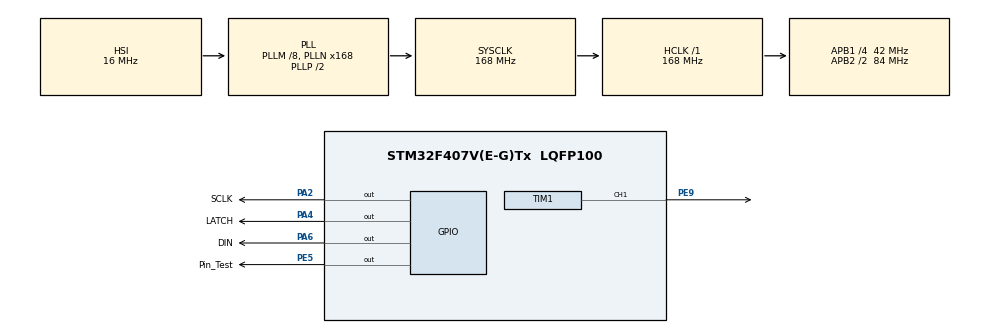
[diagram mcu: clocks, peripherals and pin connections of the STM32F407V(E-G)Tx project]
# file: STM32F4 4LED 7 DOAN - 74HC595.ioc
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ADC1.Channel-0\#ChannelRegularConversion=ADC_CHANNEL_TEMPSENSOR
ADC1.NbrOfConversionFlag=1
ADC1.Rank-0\#ChannelRegularConversion=1
ADC1.SamplingTime-0\#ChannelRegularConversion=ADC_SAMPLETIME_3CYCLES
ADC1.master=1
Mcu.Family=STM32F4
Mcu.Name=STM32F407V(E-G)Tx
Mcu.Package=LQFP100
NVIC.PriorityGroup=NVIC_PRIORITYGROUP_4
NVIC.TIM2_IRQn=true\:0\:0\:false\:false\:true\:true\:true\:true
PA13.Mode=Trace_Asynchronous_SW
PA13.Signal=SYS_JTMS-SWDIO
PA14.Mode=Trace_Asynchronous_SW
PA14.Signal=SYS_JTCK-SWCLK
PA2.GPIO_Label=SCLK
PA2.Signal=GPIO_Output
PA4.GPIO_Label=LATCH
PA4.Signal=GPIO_Output
PA6.GPIO_Label=DIN
PA6.Signal=GPIO_Output
PB3.Mode=Trace_Asynchronous_SW
PB3.Signal=SYS_JTDO-SWO
PE5.GPIO_Label=Pin_Test
PE5.Signal=GPIO_Output
PE9.Signal=S_TIM1_CH1
PH0-OSC_IN.Mode=HSE-External-Oscillator
PH0-OSC_IN.Signal=RCC_OSC_IN
PH1-OSC_OUT.Mode=HSE-External-Oscillator
PH1-OSC_OUT.Signal=RCC_OSC_OUT
ProjectManager.HeapSize=0x200
ProjectManager.StackSize=0x400
ProjectManager.TargetToolchain=MDK-ARM V5
RCC.48MHZClocksFreq_Value=84000000
RCC.AHBFreq_Value=168000000
RCC.APB1CLKDivider=RCC_HCLK_DIV4
RCC.APB1Freq_Value=42000000
RCC.APB1TimFreq_Value=84000000
RCC.APB2CLKDivider=RCC_HCLK_DIV2
RCC.APB2Freq_Value=84000000
RCC.APB2TimFreq_Value=168000000
RCC.CortexFreq_Value=168000000
RCC.HCLKFreq_Value=168000000
RCC.HSE_VALUE=8000000
RCC.HSI_VALUE=16000000
RCC.LSE_VALUE=32768
RCC.PLLM=8
RCC.PLLN=168
RCC.SYSCLKFreq_VALUE=168000000
RCC.SYSCLKSource=RCC_SYSCLKSOURCE_PLLCLK
RCC.VCOOutputFreq_Value=336000000
SH.S_TIM1_CH1.0=TIM1_CH1,PWM Generation1 CH1
TIM1.Channel-PWM\ Generation1\ CH1=TIM_CHANNEL_1
TIM1.Period=1000-1
TIM1.Prescaler=8400-1
TIM2.Period=5000-1
TIM2.Prescaler=16800-1
VP_ADC1_TempSens_Input.Mode=IN-TempSens
VP_ADC1_Vref_Input.Mode=IN-Vrefint
VP_TIM2_VS_ClockSourceINT.Mode=Internal
board=custom

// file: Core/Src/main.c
/* USER CODE BEGIN Header */
/**
  ******************************************************************************
  * @file           : main.c
  * @brief          : Main program body
  ******************************************************************************
  * @attention
  *
  * Copyright (c) 2023 STMicroelectronics.
  * All rights reserved.
  *
  * This software is licensed under terms that can be found in the LICENSE file
  * in the root directory of this software component.
  * If no LICENSE file comes with this software, it is provided AS-IS.
  *
  ******************************************************************************
  */
/* USER CODE END Header */
#include "main.h"
#include "adc.h"
#include "tim.h"
#include "gpio.h"

/* USER CODE BEGIN Includes */
#include "stdio.h"
/* USER CODE END Includes */

/* USER CODE BEGIN PV */
int timer_val =0;

/* USER CODE END PV */

void SystemClock_Config(void);

/* USER CODE BEGIN 0 */
#define SENSOR_ADC_MAX 		4095.0f
#define SENSOR_ADC_REFV  		3.3f
#define SENSOR_AVG_SLOPE 		2.5f
#define SENSOR_V25  			        0.76f
float sensorValue, temperature;
int in_led;
void HAL_TIM_PeriodElapsedCallback(TIM_HandleTypeDef *htim)
{
	HAL_GPIO_WritePin(Pin_Test_GPIO_Port,Pin_Test_Pin,GPIO_PIN_RESET);
  /* Prevent unused argument(s) compilation warning */
  UNUSED(htim);
	HAL_ADC_Start(&hadc1);
	sensorValue = (int32_t)HAL_ADC_GetValue(&hadc1);
	//HAL_ADC_Stop(&hadc1);
	float sensor_vol = sensorValue * SENSOR_ADC_REFV / SENSOR_ADC_MAX;
	temperature = ((sensor_vol - SENSOR_V25) *1000 / SENSOR_AVG_SLOPE) + 25.0f;
	printf("Gia Tri ADC %f \n",temperature);
	in_led = (int)temperature;
	HAL_GPIO_WritePin(Pin_Test_GPIO_Port,Pin_Test_Pin,GPIO_PIN_SET);
  /* NOTE : This function should not be modified, when the callback is needed,
            the HAL_TIM_PeriodElapsedCallback could be implemented in the user file
   */
}

void shiftout(int data)
{
	for(int i=0;i <8;i++) // gui tin hieu 1 SO CAN HIEN THI LÊN 1 LED
	{
		if(data&0x80)
		{
			HAL_GPIO_WritePin(DIN_GPIO_Port,DIN_Pin,GPIO_PIN_SET);
		}
		else
		{
			HAL_GPIO_WritePin(DIN_GPIO_Port,DIN_Pin,GPIO_PIN_RESET);
		}
		data<<=1;
		HAL_GPIO_WritePin(SCLK_GPIO_Port,SCLK_Pin,GPIO_PIN_SET);
		HAL_GPIO_WritePin(SCLK_GPIO_Port,SCLK_Pin,GPIO_PIN_RESET);

	}
}
char led_index[9]={0};
void display_4led(int so_int)
{
	unsigned char MA7DOAN[] =
	{
		0xC0,// 0
		0xF9,// 1
		0xA4,// 2
		0xB0,// 3
		0x99,// 4
		0x92,// 5
		0x82,// 6
		0xF8,// 7
		0x80,// 8
		0x90,// 9
		0x88,// A 10
		0x83,// B 11
		0xC6,// C 12
		0xA1,// D 13
		0x86,// E 14
		0x8E,// F 15
		0xff // NONE 16
	};
	led_index[8] = so_int/1000;
	led_index[4] = so_int%1000/100;
	led_index[2] = so_int%100/10;
	led_index[1] = so_int%10;
	if(led_index[8] == 0)
	{
		led_index[8] = 16; // MA7DOAN[16] -> tat led 7 doan
		if(led_index[4] == 0)
		{
			led_index[4] = 16; // MA7DOAN[16] -> tat led 7 doan
					if(led_index[2] == 0)
					{
						led_index[2] = 16; // MA7DOAN[16] -> tat led 7 doan
					}
		}
	}

	for(int i = 1; i < 9; i = i*2)
	{
		HAL_GPIO_WritePin(LATCH_GPIO_Port,LATCH_Pin,GPIO_PIN_RESET);
		shiftout(MA7DOAN[led_index[i]]);
		shiftout(i);
		HAL_GPIO_WritePin(LATCH_GPIO_Port,LATCH_Pin,GPIO_PIN_SET);
	}
}

//void display_nghin(int data)
//{
//	// 0x08 => 0b0000_1000 -> VI TRI LED THU 4
//	shiftout(0x08, MA7DOAN[data]);
//	HAL_GPIO_WritePin(LATCH_GPIO_Port,LATCH_Pin,GPIO_PIN_SET);
//	HAL_GPIO_WritePin(LATCH_GPIO_Port,LATCH_Pin,GPIO_PIN_RESET);
//}
//void display_tram(int data)
//{
//	// 0x04 => 0b0000_0100 -> VI TRI LED THU 3
//	shiftout(0x04,  MA7DOAN[data]);
//	HAL_GPIO_WritePin(LATCH_GPIO_Port,LATCH_Pin,GPIO_PIN_SET);
//	HAL_GPIO_WritePin(LATCH_GPIO_Port,LATCH_Pin,GPIO_PIN_RESET);
//}
//void display_chuc(int data)
//{
//	// 0x02 => 0b0000_0010 -> VI TRI LED THU 2
//	shiftout(0x02,  MA7DOAN[data]);
//	HAL_GPIO_WritePin(LATCH_GPIO_Port,LATCH_Pin,GPIO_PIN_SET);
//	HAL_GPIO_WritePin(LATCH_GPIO_Port,LATCH_Pin,GPIO_PIN_RESET);
//}
//void display_donvi(int data)
//{
//	// 0x01 => 0b0000_0001 -> VI TRI LED THU 1
//	shiftout(0x01,  MA7DOAN[data]);
//	HAL_GPIO_WritePin(LATCH_GPIO_Port,LATCH_Pin,GPIO_PIN_SET);
//	HAL_GPIO_WritePin(LATCH_GPIO_Port,LATCH_Pin,GPIO_PIN_RESET);
//}
/* USER CODE END 0 */

int main(void)
{

  /* MCU Configuration--------------------------------------------------------*/

  /* Reset of all peripherals, Initializes the Flash interface and the Systick. */
  HAL_Init();

  /* Configure the system clock */
  SystemClock_Config();

  /* Initialize all configured peripherals */
  MX_GPIO_Init();
  MX_ADC1_Init();
  MX_TIM2_Init();
  MX_TIM1_Init();
  /* USER CODE BEGIN 2 */
	HAL_ADC_Start(&hadc1);
	HAL_TIM_Base_Start_IT(&htim2);
	HAL_TIM_PWM_Start(&htim1,TIM_CHANNEL_1);
  /* USER CODE END 2 */

  /* Infinite loop */
  while (1)
  {

    /* USER CODE BEGIN 3 */

		display_4led(in_led);
		for(int i=0;i<100;i=i+5)
		{
			__HAL_TIM_SetCompare(&htim1,TIM_CHANNEL_1,i);
			HAL_Delay(300);
		}
		//timer_val = __HAL_TIM_GET_COUNTER(&htim2);
		//printf("Thoi gian thoi qua %d \n",timer_val);
  }
  /* USER CODE END 3 */
}

void SystemClock_Config(void)
{
  RCC_OscInitTypeDef RCC_OscInitStruct = {0};
  RCC_ClkInitTypeDef RCC_ClkInitStruct = {0};

  /** Configure the main internal regulator output voltage
  */
  __HAL_RCC_PWR_CLK_ENABLE();
  __HAL_PWR_VOLTAGESCALING_CONFIG(PWR_REGULATOR_VOLTAGE_SCALE1);

  /** Initializes the RCC Oscillators according to the specified parameters
  * in the RCC_OscInitTypeDef structure.
  */
  RCC_OscInitStruct.OscillatorType = RCC_OSCILLATORTYPE_HSI;
  RCC_OscInitStruct.HSIState = RCC_HSI_ON;
  RCC_OscInitStruct.HSICalibrationValue = RCC_HSICALIBRATION_DEFAULT;
  RCC_OscInitStruct.PLL.PLLState = RCC_PLL_ON;
  RCC_OscInitStruct.PLL.PLLSource = RCC_PLLSOURCE_HSI;
  RCC_OscInitStruct.PLL.PLLM = 8;
  RCC_OscInitStruct.PLL.PLLN = 168;
  RCC_OscInitStruct.PLL.PLLP = RCC_PLLP_DIV2;
  RCC_OscInitStruct.PLL.PLLQ = 4;
  if (HAL_RCC_OscConfig(&RCC_OscInitStruct) != HAL_OK)
  {
    Error_Handler();
  }

  /** Initializes the CPU, AHB and APB buses clocks
  */
  RCC_ClkInitStruct.ClockType = RCC_CLOCKTYPE_HCLK|RCC_CLOCKTYPE_SYSCLK
                              |RCC_CLOCKTYPE_PCLK1|RCC_CLOCKTYPE_PCLK2;
  RCC_ClkInitStruct.SYSCLKSource = RCC_SYSCLKSOURCE_PLLCLK;
  RCC_ClkInitStruct.AHBCLKDivider = RCC_SYSCLK_DIV1;
  RCC_ClkInitStruct.APB1CLKDivider = RCC_HCLK_DIV4;
  RCC_ClkInitStruct.APB2CLKDivider = RCC_HCLK_DIV2;

  if (HAL_RCC_ClockConfig(&RCC_ClkInitStruct, FLASH_LATENCY_5) != HAL_OK)
  {
    Error_Handler();
  }
}

void Error_Handler(void)
{
  __disable_irq();
  while (1)
  {
  }
}
